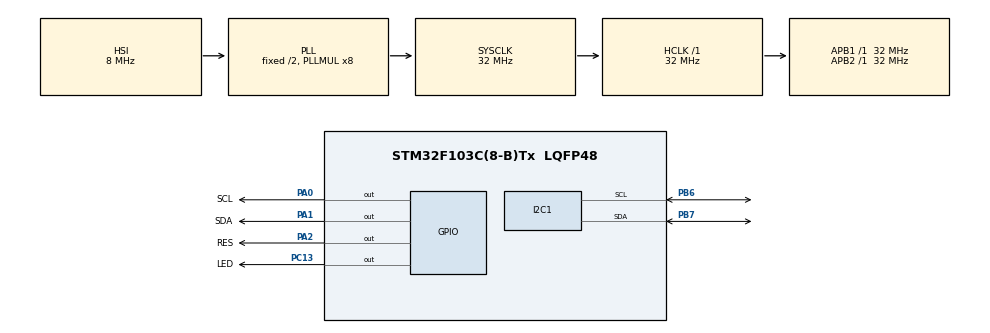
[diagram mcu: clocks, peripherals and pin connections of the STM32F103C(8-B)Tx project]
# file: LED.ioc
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Dma.I2C1_TX.0.Direction=DMA_MEMORY_TO_PERIPH
Dma.I2C1_TX.0.Instance=DMA1_Channel6
Dma.I2C1_TX.0.MemDataAlignment=DMA_MDATAALIGN_BYTE
Dma.I2C1_TX.0.MemInc=DMA_MINC_ENABLE
Dma.I2C1_TX.0.Mode=DMA_NORMAL
Dma.I2C1_TX.0.PeriphDataAlignment=DMA_PDATAALIGN_BYTE
Dma.I2C1_TX.0.PeriphInc=DMA_PINC_DISABLE
Dma.I2C1_TX.0.Priority=DMA_PRIORITY_LOW
Dma.Request0=I2C1_TX
I2C1.I2C_Mode=I2C_Fast
Mcu.Family=STM32F1
Mcu.Name=STM32F103C(8-B)Tx
Mcu.Package=LQFP48
NVIC.DMA1_Channel6_IRQn=true\:0\:0\:false\:false\:true\:false\:true\:true
NVIC.PriorityGroup=NVIC_PRIORITYGROUP_4
PA0-WKUP.GPIO_Label=SCL
PA0-WKUP.GPIO_ModeDefaultOutputPP=GPIO_MODE_OUTPUT_PP
PA0-WKUP.GPIO_PuPd=GPIO_NOPULL
PA0-WKUP.Signal=GPIO_Output
PA1.GPIO_Label=SDA
PA1.Signal=GPIO_Output
PA13.Mode=Serial_Wire
PA13.Signal=SYS_JTMS-SWDIO
PA14.Mode=Serial_Wire
PA14.Signal=SYS_JTCK-SWCLK
PA2.GPIO_Label=RES
PA2.Signal=GPIO_Output
PB6.Mode=I2C
PB6.Signal=I2C1_SCL
PB7.Mode=I2C
PB7.Signal=I2C1_SDA
PC13-TAMPER-RTC.GPIO_Label=LED
PC13-TAMPER-RTC.Signal=GPIO_Output
PD0-OSC_IN.Mode=HSE-External-Oscillator
PD0-OSC_IN.Signal=RCC_OSC_IN
PD1-OSC_OUT.Mode=HSE-External-Oscillator
PD1-OSC_OUT.Signal=RCC_OSC_OUT
ProjectManager.HeapSize=0x200
ProjectManager.StackSize=0x400
ProjectManager.TargetToolchain=STM32CubeIDE
RCC.AHBFreq_Value=32000000
RCC.APB1Freq_Value=32000000
RCC.APB1TimFreq_Value=32000000
RCC.APB2Freq_Value=32000000
RCC.APB2TimFreq_Value=32000000
RCC.HCLKFreq_Value=32000000
RCC.PLLMUL=RCC_PLL_MUL8
RCC.SYSCLKFreq_VALUE=32000000
RCC.SYSCLKSource=RCC_SYSCLKSOURCE_PLLCLK
RCC.USBFreq_Value=32000000
board=custom

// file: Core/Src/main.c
/* USER CODE BEGIN Header */
/**
  ******************************************************************************
  * @file           : main.c
  * @brief          : Main program body
  ******************************************************************************
  * @attention
  *
  * Copyright (c) 2024 STMicroelectronics.
  * All rights reserved.
  *
  * This software is licensed under terms that can be found in the LICENSE file
  * in the root directory of this software component.
  * If no LICENSE file comes with this software, it is provided AS-IS.
  *
  ******************************************************************************
  */
/* USER CODE END Header */
#include "main.h"
#include "dma.h"
#include "i2c.h"
#include "gpio.h"

/* USER CODE BEGIN Includes */
#include "oled.h"
#include "bmp.h"
/* USER CODE END Includes */

void SystemClock_Config(void);

int main(void)
{

  /* MCU Configuration--------------------------------------------------------*/

  /* Reset of all peripherals, Initializes the Flash interface and the Systick. */
  HAL_Init();

  /* Configure the system clock */
  SystemClock_Config();

  /* Initialize all configured peripherals */
  MX_GPIO_Init();
  MX_DMA_Init();
  MX_I2C1_Init();
  /* USER CODE BEGIN 2 */
    OLED_Init();
    OLED_ColorTurn(0);
    OLED_DisplayTurn(0);
    u8 t = ' ';
  /* USER CODE END 2 */

  /* Infinite loop */
    while (1) {

    /* USER CODE BEGIN 3 */

        OLED_DrawBMP(0, 0, 128, 32, BMP1);
        HAL_Delay(500);
        OLED_Clear();
        OLED_ShowChinese(0, 0, 0, 16);//??
        OLED_ShowChinese(18, 0, 1, 16);//??
        OLED_ShowChinese(36, 0, 2, 16);//??
        OLED_ShowChinese(54, 0, 3, 16);//??
        OLED_ShowChinese(72, 0, 4, 16);//??
        OLED_ShowChinese(90, 0, 5, 16);//??
        OLED_ShowChinese(108, 0, 6, 16);//??
        OLED_ShowString(8, 2, "ZHONGJINGYUAN", 16);
        HAL_Delay(500);
        OLED_Clear();
        OLED_ShowString(20, 0, "2014/05/01", 16);
        OLED_ShowString(0, 2, "ASCII:", 16);
        OLED_ShowString(63, 2, "CODE:", 16);
        OLED_ShowChar(48, 2, t, 16);
        t++;
        if (t > '~')t = ' ';
        OLED_ShowNum(103, 2, t, 3, 16);
        HAL_Delay(500);
        OLED_Clear();
    }
  /* USER CODE END 3 */
}

void SystemClock_Config(void)
{
  RCC_OscInitTypeDef RCC_OscInitStruct = {0};
  RCC_ClkInitTypeDef RCC_ClkInitStruct = {0};

  /** Initializes the RCC Oscillators according to the specified parameters
  * in the RCC_OscInitTypeDef structure.
  */
  RCC_OscInitStruct.OscillatorType = RCC_OSCILLATORTYPE_HSI;
  RCC_OscInitStruct.HSIState = RCC_HSI_ON;
  RCC_OscInitStruct.HSICalibrationValue = RCC_HSICALIBRATION_DEFAULT;
  RCC_OscInitStruct.PLL.PLLState = RCC_PLL_ON;
  RCC_OscInitStruct.PLL.PLLSource = RCC_PLLSOURCE_HSI_DIV2;
  RCC_OscInitStruct.PLL.PLLMUL = RCC_PLL_MUL8;
  if (HAL_RCC_OscConfig(&RCC_OscInitStruct) != HAL_OK)
  {
    Error_Handler();
  }

  /** Initializes the CPU, AHB and APB buses clocks
  */
  RCC_ClkInitStruct.ClockType = RCC_CLOCKTYPE_HCLK|RCC_CLOCKTYPE_SYSCLK
                              |RCC_CLOCKTYPE_PCLK1|RCC_CLOCKTYPE_PCLK2;
  RCC_ClkInitStruct.SYSCLKSource = RCC_SYSCLKSOURCE_PLLCLK;
  RCC_ClkInitStruct.AHBCLKDivider = RCC_SYSCLK_DIV1;
  RCC_ClkInitStruct.APB1CLKDivider = RCC_HCLK_DIV1;
  RCC_ClkInitStruct.APB2CLKDivider = RCC_HCLK_DIV1;

  if (HAL_RCC_ClockConfig(&RCC_ClkInitStruct, FLASH_LATENCY_1) != HAL_OK)
  {
    Error_Handler();
  }
}

void Error_Handler(void)
{
    __disable_irq();
    while (1) {
    }
}
